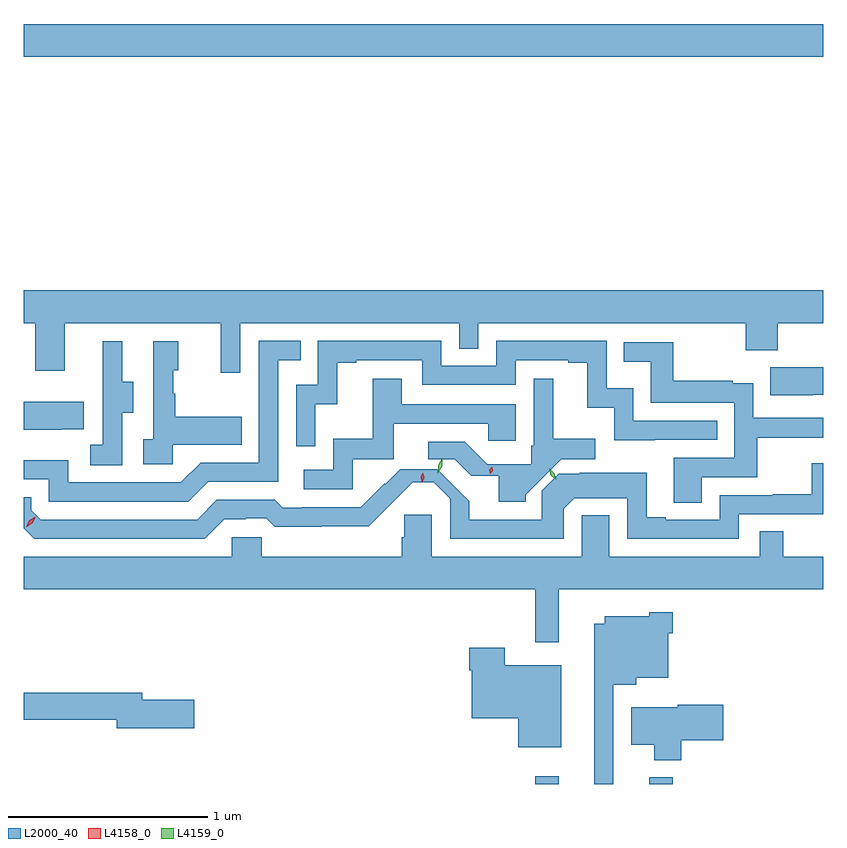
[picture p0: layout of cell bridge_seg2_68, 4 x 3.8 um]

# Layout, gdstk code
import gdstk
lib = gdstk.Library(unit=1e-6, precision=1e-09)
def R(c, l, rs):  # rectangles x0, y0, x1, y1
    for r in rs: c.add(gdstk.rectangle(r[:2], r[2:], *l))
def P(c, l, *ps):  # polygons
    for p in ps: c.add(gdstk.Polygon(p, *l))
L2000_40 = (2000, 40)
L4158_0 = (4158, 0)
L4159_0 = (4159, 0)

bridge_seg2_68 = lib.new_cell('bridge_seg2_68')
R(bridge_seg2_68, L2000_40, [(999.049,606.703,999.167,606.742), (999.62,606.703,999.737,606.736), (996.491,610.34,1000.491,610.504)])
P(bridge_seg2_68, L2000_40, [(997.575,609.008),(998.67,609.008),(998.67,608.881),(998.766,608.881),(998.766,609.008),(1000.102,609.008),(1000.102,608.873),(1000.262,608.873),(1000.262,609.008),(1000.491,609.008),(1000.491,609.172),(996.491,609.172),(996.491,609.008),(996.55,609.008),(996.55,608.769),(996.697,608.769),(996.697,609.008),(997.478,609.008),(997.478,608.76),(997.575,608.76)],
  [(997.414,608.214),(997.764,608.214),(997.764,608.823),(997.877,608.823),(997.877,608.919),(997.668,608.919),(997.668,608.31),(997.377,608.31),(997.278,608.211),(996.714,608.211),(996.714,608.323),(996.491,608.323),(996.491,608.226),(996.618,608.226),(996.618,608.115),(997.315,608.115)],
  [(997.95,608.603),(998.06,608.603),(998.06,608.811),(998.155,608.811),(998.155,608.823),(998.484,608.823),(998.484,608.7),(998.952,608.7),(998.952,608.823),(999.215,608.823),(999.215,608.811),(999.311,608.811),(999.311,608.585),(999.444,608.585),(999.444,608.423),(999.647,608.423),(999.647,608.424),(999.959,608.424),(999.959,608.52),(999.54,608.52),(999.54,608.683),(999.408,608.683),(999.408,608.919),(998.856,608.919),(998.856,608.796),(998.58,608.796),(998.58,608.919),(997.962,608.919),(997.962,608.7),(997.854,608.7),(997.854,608.391),(997.95,608.391)],
  [(996.984,608.56),(997.039,608.56),(997.039,608.715),(996.985,608.715),(996.985,608.917),(996.887,608.917),(996.887,608.703),(996.888,608.703),(996.888,608.399),(996.825,608.399),(996.825,608.296),(996.984,608.296)],
  [(997.236,608.399),(997.583,608.399),(997.583,608.539),(997.249,608.539),(997.249,608.654),(997.239,608.654),(997.239,608.772),(997.264,608.772),(997.264,608.917),(997.14,608.917),(997.14,608.426),(997.089,608.426),(997.089,608.301),(997.236,608.301)],
  [(999.883,608.238),(1000.16,608.238),(1000.16,608.434),(1000.491,608.434),(1000.491,608.535),(1000.14,608.535),(1000.14,608.707),(1000.037,608.707),(1000.037,608.719),(999.739,608.719),(999.739,608.913),(999.493,608.913),(999.493,608.816),(999.628,608.816),(999.628,608.61),(1000.044,608.61),(1000.044,608.334),(999.743,608.334),(999.743,608.11),(999.883,608.11)],
  [(1000.439,608.649),(1000.491,608.649),(1000.491,608.788),(1000.225,608.788),(1000.225,608.648),(1000.439,608.648)],
  [(998.136,608.327),(998.341,608.327),(998.341,608.505),(998.815,608.505),(998.815,608.42),(998.953,608.42),(998.953,608.601),(998.383,608.601),(998.383,608.731),(998.237,608.731),(998.237,608.43),(998.04,608.43),(998.04,608.274),(997.893,608.274),(997.893,608.178),(998.136,608.178)],
  [(999.002,608.149),(999.18,608.327),(999.351,608.327),(999.351,608.43),(999.139,608.43),(999.139,608.731),(999.042,608.731),(999.042,608.394),(999.031,608.394),(999.031,608.303),(998.811,608.303),(998.698,608.415),(998.514,608.415),(998.514,608.327),(998.648,608.327),(998.73,608.244),(998.867,608.244),(998.867,608.114),(999.002,608.114)],
  [(996.683,608.477),(996.791,608.477),(996.791,608.614),(996.491,608.614),(996.491,608.474),(996.683,608.474)],
  [(997.495,608.028),(997.602,608.028),(997.602,608.031),(997.705,608.031),(997.747,607.989),(997.98,607.989),(997.98,607.991),(998.216,607.991),(998.437,608.212),(998.542,608.212),(998.625,608.129),(998.625,607.929),(999.193,607.929),(999.193,608.08),(999.245,608.132),(999.51,608.132),(999.51,607.929),(1000.068,607.929),(1000.068,608.052),(1000.491,608.052),(1000.491,608.308),(1000.434,608.308),(1000.434,608.153),(1000.237,608.153),(1000.237,608.148),(999.972,608.148),(999.972,608.025),(999.703,608.025),(999.703,608.038),(999.607,608.038),(999.607,608.26),(999.273,608.26),(999.273,608.254),(999.167,608.254),(999.083,608.17),(999.083,608.025),(998.72,608.025),(998.72,608.117),(998.559,608.277),(998.375,608.277),(998.3,608.202),(998.296,608.206),(998.178,608.088),(997.885,608.088),(997.885,608.085),(997.786,608.085),(997.747,608.124),(997.458,608.124),(997.359,608.025),(996.576,608.025),(996.528,608.073),(996.528,608.136),(996.491,608.136),(996.491,607.981),(996.543,607.929),(997.396,607.929)],
  [(999.168,607.676),(1000.491,607.676),(1000.491,607.84),(1000.289,607.84),(1000.289,607.967),(1000.173,607.967),(1000.173,607.84),(999.421,607.84),(999.421,608.047),(999.282,608.047),(999.282,607.84),(998.533,607.84),(998.533,608.049),(998.395,608.049),(998.395,607.938),(998.381,607.938),(998.381,607.84),(997.683,607.84),(997.683,607.938),(997.533,607.938),(997.533,607.84),(996.491,607.84),(996.491,607.676),(999.049,607.676),(999.049,607.413),(999.168,607.413)],
  [(999.441,607.199),(999.556,607.199),(999.556,607.235),(999.715,607.235),(999.715,607.457),(999.737,607.457),(999.737,607.561),(999.621,607.561),(999.621,607.543),(999.398,607.543),(999.398,607.504),(999.344,607.504),(999.344,606.703),(999.441,606.703)],
  [(999.181,607.297),(998.898,607.297),(998.898,607.384),(998.72,607.384),(998.72,607.271),(998.732,607.271),(998.732,607.031),(998.966,607.031),(998.966,606.887),(999.181,606.887)],
  [(997.345,607.124),(997.084,607.124),(997.084,607.16),(996.491,607.16),(996.491,607.024),(996.956,607.024),(996.956,606.982),(997.345,606.982)],
  [(999.779,606.922),(999.991,606.922),(999.991,607.1),(999.762,607.1),(999.762,607.087),(999.53,607.087),(999.53,606.899),(999.644,606.899),(999.644,606.821),(999.779,606.821)])
P(bridge_seg2_68, L4158_0, [(996.503,607.988),(996.503,607.988),(996.52,608.021),(996.551,608.04),(996.551,608.04),(996.551,608.04),(996.534,608.007),(996.503,607.988)],
  [(998.824,608.255),(998.824,608.255),(998.819,608.274),(998.833,608.287),(998.833,608.288),(998.834,608.287),(998.838,608.269),(998.824,608.255)],
  [(998.484,608.213),(998.484,608.213),(998.476,608.237),(998.487,608.259),(998.487,608.259),(998.487,608.259),(998.496,608.236),(998.485,608.213)])
P(bridge_seg2_68, L4159_0, [(999.154,608.225),(999.154,608.225),(999.128,608.248),(999.12,608.281),(999.12,608.282),(999.12,608.282),(999.146,608.258),(999.154,608.225)],
  [(998.562,608.258),(998.565,608.298),(998.586,608.333),(998.586,608.333),(998.586,608.332),(998.584,608.292),(998.563,608.258),(998.563,608.258)])

lib.write_gds('bridge_seg2_68.gds')
